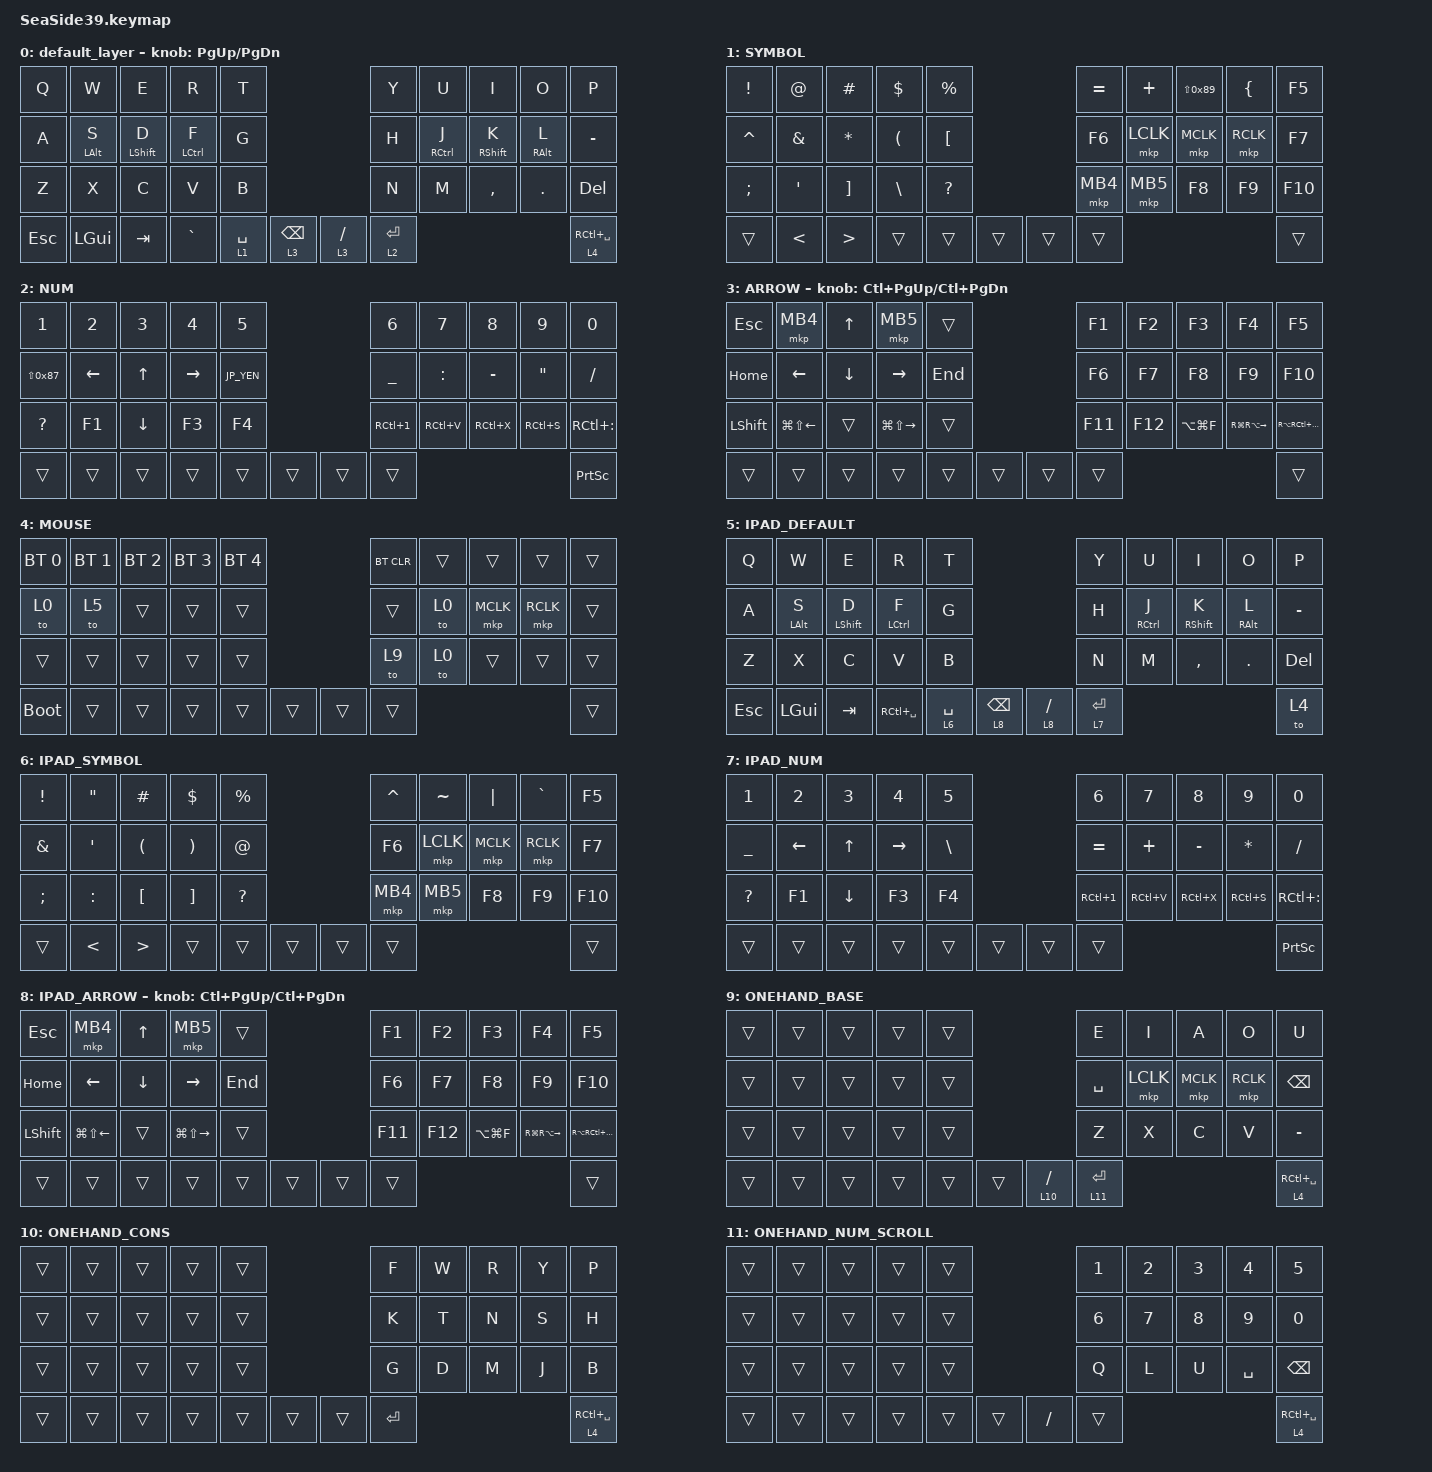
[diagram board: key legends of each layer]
#include <input/processors.dtsi>
#include <behaviors.dtsi>
#include <dt-bindings/zmk/bt.h>
#include <dt-bindings/zmk/keys.h>
#include <dt-bindings/zmk/pointing.h>
#include <dt-bindings/zmk/input_transform.h>

#define MOUSE 4
#define SCROLL 5
#define NUM 6

//以下USキーボードのままJISキーボードとして使うための定義 https://note.com/kloir_z/n/n314e739f03a1

#define JP_DQUOTE       AT                // "
#define JP_AMPERSAND    CARET             // &
#define JP_QUOTE        AMPERSAND         // '
#define JP_EQUAL        UNDER             // =
#define JP_CARET        EQUAL             // ^
#define JP_YEN          0x89              // ¥
#define JP_PLUS         COLON             // +
#define JP_TILDE        PLUS              // ~
#define JP_PIPE         LS(0x89)          // |
#define JP_AT           LEFT_BRACKET      // @
#define JP_COLON        SINGLE_QUOTE      // :
#define JP_ASTERISK     DOUBLE_QUOTES     // *
#define JP_BACKQUOTE    LEFT_BRACE        // `
#define JP_UNDERSCORE   LS(0x87)          // _
#define JP_LBRACKET     RIGHT_BRACKET     // [
#define JP_RBRACKET     BACKSLASH         // ]
#define JP_LPAREN       ASTERISK          // (
#define JP_RPAREN       LEFT_PARENTHESIS  // )
#define JP_LBRACE       RIGHT_BRACE       // {
#define JP_RBRACE       PIPE              // }
#define JP_KANA         LANGUAGE_1        // かな
#define JP_EISU         LANGUAGE_2        // 英数
#define JP_HANZEN       GRAVE             // 半角/全角

&mt {
    flavor = "balanced";
    quick-tap-ms = <300>;
};

&lt {
    flavor = "balanced";
    quick-tap-ms = <300>;
};

/ {
    combos { compatible = "zmk,combos"; };

    macros {
        to_layer_0: to_layer_0 {
            compatible = "zmk,behavior-macro-one-param";
            #binding-cells = <1>;
            bindings = <&to 0 &macro_param_1to1 &kp MACRO_PLACEHOLDER>;
            label = "TO_LAYER_0";
        };
    };

    behaviors {
        lt_to_layer_0: lt_to_layer_0 {
            compatible = "zmk,behavior-hold-tap";
            label = "LAYER_TAP_TO_0";
            bindings = <&mo>, <&to_layer_0>;

            #binding-cells = <2>;
            tapping-term-ms = <200>;
        };
    };

    keymap {
        compatible = "zmk,keymap";

//レイヤー0（PC用 デフォルトレイヤー）[cite: 1]

        default_layer {
            bindings = <
&kp Q       &kp W         &kp E             &kp R               &kp T                                           &kp Y        &kp U                &kp I              &kp O            &kp P
&kp A       &mt LALT S    &mt LEFT_SHIFT D  &mt LEFT_CONTROL F  &kp G                                           &kp H        &mt RIGHT_CONTROL J  &mt RIGHT_SHIFT K  &mt RIGHT_ALT L  &kp MINUS
&kp Z       &kp X         &kp C             &kp V               &kp B                                           &kp N        &kp M                &kp COMMA          &kp PERIOD       &kp DELETE
&kp ESCAPE  &kp LEFT_GUI  &kp TAB           &kp GRAVE           &lt 1 SPACE  &lt 3 BACKSPACE      &lt 3 SLASH   &lt 2 ENTER                                                           &lt 4 RC(SPACE)
            >;

            sensor-bindings = <&inc_dec_kp PG_UP PAGE_DOWN>;
        };

//レイヤー1（PC用 SYMBOL：JIS記号系、マウスクリック系）[cite: 1]

        SYMBOL {
            bindings = <
&kp EXCLAMATION   &kp JP_DQUOTE  &kp HASH          &kp DOLLAR       &kp PERCENT                       &kp JP_CARET  &kp JP_TILDE  &kp JP_PIPE  &kp JP_BACKQUOTE  &kp F5
&kp JP_AMPERSAND  &kp JP_QUOTE   &kp JP_LPAREN     &kp JP_RPAREN    &kp JP_AT                         &kp F6        &mkp LCLK     &mkp MCLK    &mkp RCLK         &kp F7
&kp SEMICOLON     &kp JP_COLON   &kp JP_LBRACKET   &kp JP_RBRACKET  &kp QUESTION                      &mkp MB4      &mkp MB5      &kp F8       &kp F9            &kp F10
&trans            &kp LESS_THAN  &kp GREATER_THAN  &trans           &trans        &trans      &trans  &trans                                                     &trans
            >;
        };

//レイヤー2（PC用 NUM：数字系）[cite: 1]
// ※右端中段を DELETE から SLASH に戻しています

        NUM {
            bindings = <
&kp NUMBER_1       &kp NUMBER_2  &kp NUMBER_3  &kp NUMBER_4  &kp N5                          &kp NUMBER_6      &kp N7       &kp N8     &kp N9           &kp N0
&kp JP_UNDERSCORE  &kp LEFT      &kp UP        &kp RIGHT     &kp JP_YEN                      &kp JP_EQUAL      &kp JP_PLUS  &kp MINUS  &kp JP_ASTERISK  &kp SLASH
&kp QMARK          &kp F1        &kp DOWN      &kp F3        &kp F4                          &kp RC(NUMBER_1)  &kp RC(V)    &kp RC(X)  &kp RC(S)        &kp RC(COLON)
&trans             &trans        &trans        &trans        &trans      &trans      &trans  &trans                                                     &kp PRINTSCREEN
            >;
        };

//レイヤー3（PC用 ARROW：矢印とファンクション系）[cite: 1]

        ARROW {
            bindings = <
&kp ESCAPE      &mkp MB4                &kp UP_ARROW    &mkp MB5                 &trans                       &kp F1   &kp F2   &kp F3         &kp F4                   &kp F5
&kp HOME        &kp LEFT_ARROW          &kp DOWN_ARROW  &kp RIGHT_ARROW          &kp END                      &kp F6   &kp F7   &kp F8         &kp F9                   &kp F10
&kp LEFT_SHIFT  &kp LG(LS(LEFT_ARROW))  &trans          &kp LG(LS(RIGHT_ARROW))  &trans                       &kp F11  &kp F12  &kp LA(LG(F))  &kp RG(RA(RIGHT_ARROW))  &kp RA(RC(RG(RIGHT_ARROW)))
&trans          &trans                  &trans          &trans                   &trans   &trans      &trans  &trans                                                    &trans
            >;

            sensor-bindings = <&inc_dec_kp LC(PAGE_UP) LC(PAGE_DOWN)>;
        };

//レイヤー4（設定系：PC/iPad切り替え ＋ 片手モード切替・復帰）[cite: 1]

        MOUSE {
            bindings = <
&bt BT_SEL 0  &bt BT_SEL 1  &bt BT_SEL 2  &bt BT_SEL 3  &bt BT_SEL 4                      &bt BT_CLR  &trans     &trans     &trans     &trans
&to 0         &to 5         &trans        &trans        &trans                            &trans      &to 0      &mkp MCLK  &mkp RCLK  &trans
&trans        &trans        &trans        &trans        &trans                            &to 9       &to 0      &trans     &trans     &trans
&bootloader   &trans        &trans        &trans        &trans        &trans      &trans  &trans                                       &trans
            >;
        };

//レイヤー5（iPad用 デフォルトレイヤー）[cite: 1]

        IPAD_DEFAULT {
            bindings = <
&kp Q       &kp W         &kp E             &kp R               &kp T                                           &kp Y        &kp U                &kp I              &kp O            &kp P
&kp A       &mt LALT S    &mt LEFT_SHIFT D  &mt LEFT_CONTROL F  &kp G                                           &kp H        &mt RIGHT_CONTROL J  &mt RIGHT_SHIFT K  &mt RIGHT_ALT L  &kp MINUS
&kp Z       &kp X         &kp C             &kp V               &kp B                                           &kp N        &kp M                &kp COMMA          &kp PERIOD       &kp DELETE
&kp ESCAPE  &kp LEFT_GUI  &kp TAB           &kp RC(SPACE)       &lt 6 SPACE  &lt 8 BACKSPACE      &lt 8 SLASH   &lt 7 ENTER                                                           &to 4
            >;
        };

//レイヤー6（iPad用 SYMBOL）[cite: 1]

        IPAD_SYMBOL {
            bindings = <
&kp EXCLAMATION   &kp DOUBLE_QUOTES  &kp HASH             &kp DOLLAR        &kp PERCENT                       &kp CARET         &kp TILDE         &kp PIPE          &kp GRAVE         &kp F5
&kp AMPERSAND     &kp SINGLE_QUOTE   &kp LEFT_PARENTHESIS &kp RIGHT_PARENTHESIS &kp AT                        &kp F6            &mkp LCLK         &mkp MCLK         &mkp RCLK         &kp F7
&kp SEMICOLON     &kp COLON          &kp LEFT_BRACKET     &kp RIGHT_BRACKET &kp QUESTION                      &mkp MB4          &mkp MB5          &kp F8            &kp F9            &kp F10
&trans            &kp LESS_THAN      &kp GREATER_THAN     &trans            &trans        &trans      &trans  &trans                                                                  &trans
            >;
        };

//レイヤー7（iPad用 NUM）[cite: 1]
// ※右端中段を DELETE から SLASH に戻しています

        IPAD_NUM {
            bindings = <
&kp NUMBER_1   &kp NUMBER_2  &kp NUMBER_3  &kp NUMBER_4  &kp N5                          &kp NUMBER_6      &kp N7     &kp N8     &kp N9        &kp N0
&kp UNDERSCORE &kp LEFT      &kp UP        &kp RIGHT     &kp BACKSLASH                   &kp EQUAL         &kp PLUS   &kp MINUS  &kp ASTERISK  &kp SLASH
&kp QMARK      &kp F1        &kp DOWN      &kp F3        &kp F4                          &kp RC(NUMBER_1)  &kp RC(V)  &kp RC(X)  &kp RC(S)     &kp RC(COLON)
&trans         &trans        &trans        &trans        &trans      &trans      &trans  &trans                                                &kp PRINTSCREEN
            >;
        };

//レイヤー8（iPad用 ARROW）[cite: 1]

        IPAD_ARROW {
            bindings = <
&kp ESCAPE      &mkp MB4                &kp UP_ARROW    &mkp MB5                 &trans                       &kp F1   &kp F2   &kp F3         &kp F4                   &kp F5
&kp HOME        &kp LEFT_ARROW          &kp DOWN_ARROW  &kp RIGHT_ARROW          &kp END                      &kp F6   &kp F7   &kp F8         &kp F9                   &kp F10
&kp LEFT_SHIFT  &kp LG(LS(LEFT_ARROW))  &trans          &kp LG(LS(RIGHT_ARROW))  &trans                       &kp F11  &kp F12  &kp LA(LG(F))  &kp RG(RA(RIGHT_ARROW))  &kp RA(RC(RG(RIGHT_ARROW)))
&trans          &trans                  &trans          &trans                   &trans   &trans      &trans  &trans                                                    &trans
            >;

            sensor-bindings = <&inc_dec_kp LC(PAGE_UP) LC(PAGE_DOWN)>;
        };

//レイヤー9（PC用 右手片手モード：ベース）[cite: 1]

        ONEHAND_BASE {
            bindings = <
&trans  &trans  &trans  &trans  &trans                      &kp E           &kp I         &kp A        &kp O        &kp U
&trans  &trans  &trans  &trans  &trans                      &kp SPACE       &mkp LCLK     &mkp MCLK    &mkp RCLK    &kp BACKSPACE
&trans  &trans  &trans  &trans  &trans                      &kp Z           &kp X         &kp C        &kp V        &kp MINUS
&trans  &trans  &trans  &trans  &trans  &trans      &lt 10 SLASH    &lt 11 ENTER                                    &lt 4 RC(SPACE)
            >;
        };

//レイヤー10（PC用 右手片手モード：大西配列 右手側子音）[cite: 1]

        ONEHAND_CONS {
            bindings = <
&trans  &trans  &trans  &trans  &trans                      &kp F       &kp W       &kp R       &kp Y       &kp P
&trans  &trans  &trans  &trans  &trans                      &kp K       &kp T       &kp N       &kp S       &kp H
&trans  &trans  &trans  &trans  &trans                      &kp G       &kp D       &kp M       &kp J       &kp B
&trans  &trans  &trans  &trans  &trans  &trans      &trans  &kp ENTER                                       &lt 4 RC(SPACE)
            >;
        };

//レイヤー11（PC用 右手片手モード：数字 ＋ QLU ＋ スクロール）[cite: 1]

        ONEHAND_NUM_SCROLL {
            bindings = <
&trans  &trans  &trans  &trans  &trans                      &kp N1      &kp N2      &kp N3      &kp N4      &kp N5
&trans  &trans  &trans  &trans  &trans                      &kp N6      &kp N7      &kp N8      &kp N9      &kp N0
&trans  &trans  &trans  &trans  &trans                      &kp Q       &kp L       &kp U       &kp SPACE   &kp BACKSPACE
&trans  &trans  &trans  &trans  &trans  &trans      &kp SLASH   &trans                                      &lt 4 RC(SPACE)
            >;
        };
    };
};

//トラックボールのスクロール設定（レイヤー3、8、11に適用）[cite: 1]
&trackball_listener {
    scroller {
        layers = <3 8 11>;
        input-processors = <
            &zip_xy_to_scroll_mapper
            &zip_scroll_scaler 1 1000 /* スクロール量 1/1000 */
            &zip_scroll_transform INPUT_TRANSFORM_Y_INVERT
        >;
    };
};
